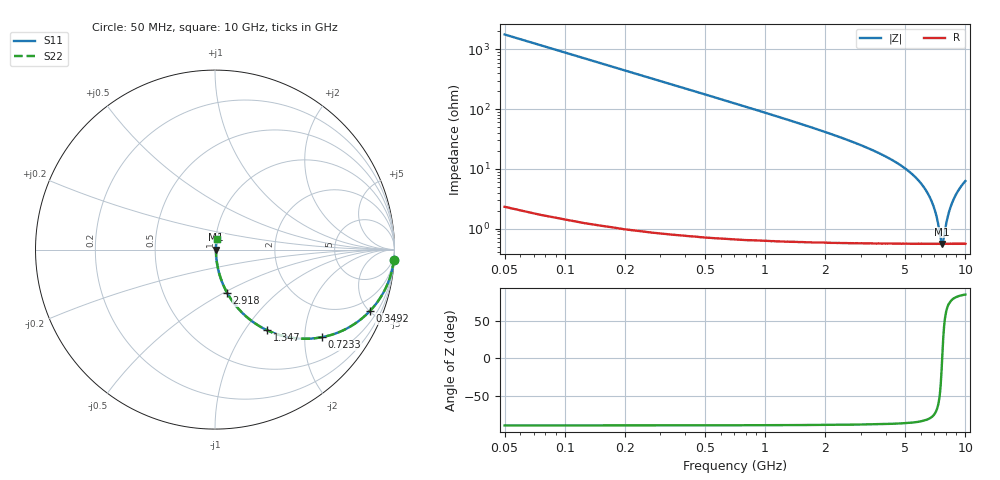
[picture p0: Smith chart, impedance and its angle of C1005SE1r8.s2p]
!	AVX	Thin	Film	Operation
!	Date:	March 2012
!	Description: Ultra-Miniature 01005 Size ACCU - P® Thin Film RF / Microwave Capacitor
!	Part Number:  C005YK1R8ABSTR
!	Serial	Measurements
#	MHz	S	db	R	50
!	S11	S21	S12	S22
!	dB	Phase	dB	Phase	dB	Phase	dB	Phase
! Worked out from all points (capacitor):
!   400 points, 50 MHz to 10 GHz, reference 50 ohm
!   read as one part in series: C = 1.8 pF near 99.88 MHz
!   lowest |Z| = 556 mohm at 7.656 GHz (marker M1)
!   series resonance near 7.657 GHz, so ESL is about 240 pH
!   S11 on the Smith chart (normalised r, x): 50 MHz: 1, -35; 349.2 MHz: 1.02, -5.05; 723.3 MHz: 1.01, -2.42; 1.347 GHz: 1.01, -1.27; 2.918 GHz: 1.01, -0.52; 10 GHz: 1.01, +0.12
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50  -0.01 -3.2  -24.97 86.7  -24.97 86.7  -0.01 -3.2
99.875  -0.06 -6.4  -19.00 83.5  -19.00 83.5  -0.06 -6.4
149.749  -0.13 -9.6  -15.55 80.3  -15.55 80.3  -0.13 -9.6
224.561  -0.28 -14.3  -12.17 75.6  -12.17 75.6  -0.28 -14.3
349.248  -0.64 -21.6  -8.69 68.3  -8.69 68.3  -0.64 -21.6
523.81  -1.33 -30.7  -5.84 59.1  -5.84 59.1  -1.33 -30.7
723.308  -2.28 -39.4  -3.95 50.3  -3.95 50.3  -2.28 -39.4
1346.742  -5.44 -57.1  -1.51 32.3  -1.51 32.3  -5.44 -57.1
1720.802  -7.20 -63.4  -0.97 25.9  -0.97 25.9  -7.20 -63.4
2917.794  -12.06 -74.3  -0.33 14.4  -0.33 14.4  -12.06 -74.3
3366.667  -13.71 -76.6  -0.24 11.9  -0.24 11.9  -13.71 -76.6
5037.469  -20.11 -81.1  -0.09 5.7  -0.09 5.7  -20.11 -81.1
6010.025  -24.98 -81.1  -0.06 3.2  -0.06 3.2  -24.98 -81.1
6708.271  -30.18 -77.9  -0.05 1.7  -0.05 1.7  -30.18 -77.9
7157.143  -35.66 -69.5  -0.05 0.9  -0.05 0.9  -35.66 -69.5
7556.14  -43.98 -28.7  -0.05 0.2  -0.05 0.2  -43.98 -28.7
7655.89  -45.13 -0.4  -0.05 0.0  -0.05 0.0  -45.13 -0.4
7755.639  -44.06 27.7  -0.05 -0.2  -0.05 -0.2  -44.06 27.7
8079.825  -37.38 65.1  -0.05 -0.7  -0.05 -0.7  -37.38 65.1
8354.135  -33.65 73.4  -0.05 -1.1  -0.05 -1.1  -33.65 73.4
9027.444  -28.32 79.5  -0.06 -2.2  -0.06 -2.2  -28.32 79.5
10000  -24.13 81.3  -0.07 -3.5  -0.07 -3.5  -24.13 81.3
